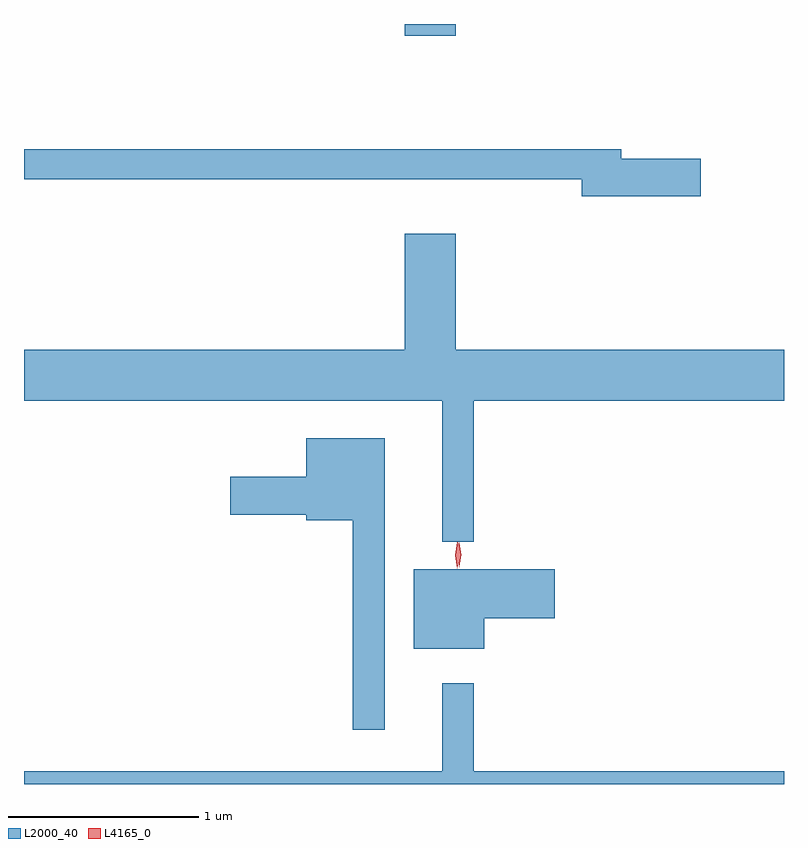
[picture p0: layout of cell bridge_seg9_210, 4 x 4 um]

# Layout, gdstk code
import gdstk
lib = gdstk.Library(unit=1e-6, precision=1e-09)
def R(c, l, rs):  # rectangles x0, y0, x1, y1
    for r in rs: c.add(gdstk.rectangle(r[:2], r[2:], *l))
def P(c, l, *ps):  # polygons
    for p in ps: c.add(gdstk.Polygon(p, *l))
L2000_40 = (2000, 40)
L4165_0 = (4165, 0)

bridge_seg9_210 = lib.new_cell('bridge_seg9_210')
R(bridge_seg9_210, L2000_40, [(1313.976,1982.636,1314.244,1982.698)])
P(bridge_seg9_210, L2000_40, [(1315.534,1981.989),(1315.114,1981.989),(1315.114,1982.039),(1311.971,1982.039),(1311.971,1981.881),(1314.906,1981.881),(1314.906,1981.791),(1315.534,1981.791)],
  [(1314.339,1980.716),(1315.971,1980.716),(1315.971,1980.984),(1314.244,1980.984),(1314.244,1981.594),(1313.976,1981.594),(1313.976,1980.984),(1311.971,1980.984),(1311.971,1980.716),(1314.171,1980.716),(1314.171,1979.973),(1314.339,1979.973)],
  [(1313.869,1980.519),(1313.456,1980.519),(1313.456,1980.314),(1313.056,1980.314),(1313.056,1980.116),(1313.456,1980.116),(1313.456,1980.086),(1313.701,1980.086),(1313.701,1978.983),(1313.869,1978.983)],
  [(1314.394,1979.571),(1314.764,1979.571),(1314.764,1979.829),(1314.021,1979.829),(1314.021,1979.411),(1314.394,1979.411)],
  [(1315.971,1978.764),(1314.339,1978.764),(1314.339,1979.228),(1314.171,1979.228),(1314.171,1978.764),(1311.971,1978.764),(1311.971,1978.698),(1315.971,1978.698)])
P(bridge_seg9_210, L4165_0, [(1314.262,1979.84),(1314.262,1979.841),(1314.252,1979.904),(1314.26,1979.966),(1314.261,1979.967),(1314.261,1979.966),(1314.272,1979.904),(1314.263,1979.841)],
  [(1314.251,1979.834),(1314.242,1979.902),(1314.252,1979.97),(1314.253,1979.97),(1314.253,1979.97),(1314.262,1979.902),(1314.252,1979.834),(1314.252,1979.834)])

lib.write_gds('bridge_seg9_210.gds')
